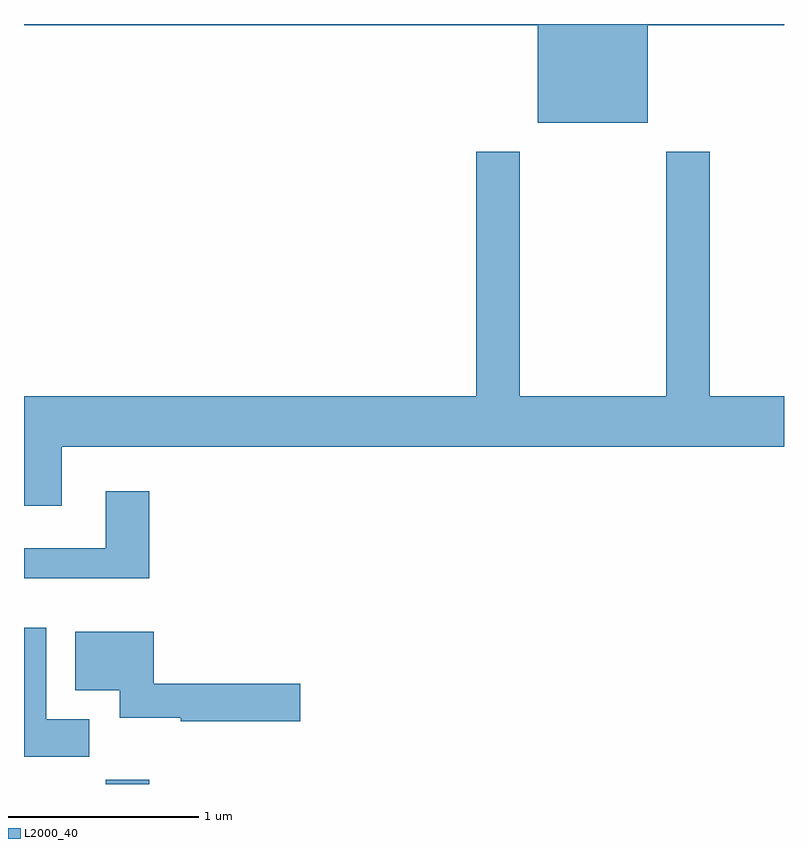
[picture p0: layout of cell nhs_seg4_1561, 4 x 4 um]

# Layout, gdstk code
import gdstk
lib = gdstk.Library(unit=1e-6, precision=1e-09)
def R(c, l, rs):  # rectangles x0, y0, x1, y1
    for r in rs: c.add(gdstk.rectangle(r[:2], r[2:], *l))
def P(c, l, *ps):  # polygons
    for p in ps: c.add(gdstk.Polygon(p, *l))
L2000_40 = (2000, 40)

nhs_seg4_1561 = lib.new_cell('nhs_seg4_1561')
R(nhs_seg4_1561, L2000_40, [(230.041,1383.982,230.269,1384.004)])
P(nhs_seg4_1561, L2000_40, [(232.894,1387.976),(233.611,1387.976),(233.611,1387.982),(229.611,1387.982),(229.611,1387.976),(232.316,1387.976),(232.316,1387.461),(232.894,1387.461)],
  [(233.611,1386.024),(233.219,1386.024),(233.219,1387.309),(232.991,1387.309),(232.991,1386.024),(232.219,1386.024),(232.219,1387.309),(231.991,1387.309),(231.991,1386.024),(229.611,1386.024),(229.611,1385.446),(229.809,1385.446),(229.809,1385.756),(233.611,1385.756)],
  [(230.269,1385.524),(230.041,1385.524),(230.041,1385.224),(229.611,1385.224),(229.611,1385.066),(230.269,1385.066)],
  [(229.954,1384.324),(229.729,1384.324),(229.729,1384.804),(229.611,1384.804),(229.611,1384.126),(229.954,1384.126)],
  [(231.064,1384.509),(230.294,1384.509),(230.294,1384.784),(229.881,1384.784),(229.881,1384.476),(230.116,1384.476),(230.116,1384.331),(230.436,1384.331),(230.436,1384.311),(231.064,1384.311)])

lib.write_gds('nhs_seg4_1561.gds')
